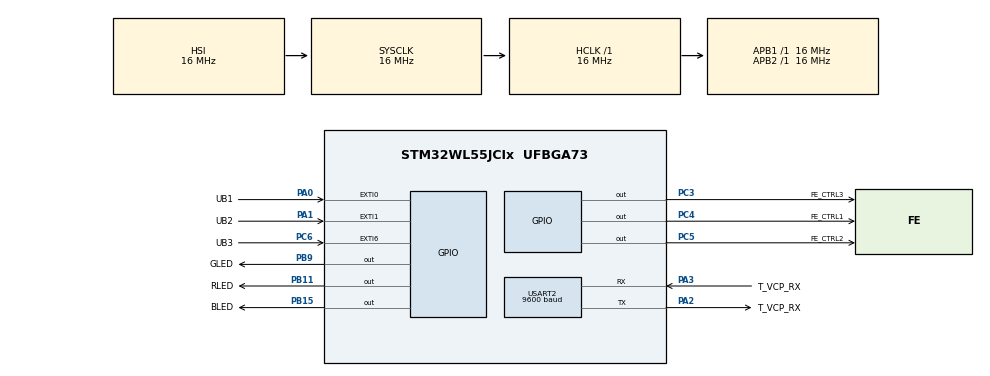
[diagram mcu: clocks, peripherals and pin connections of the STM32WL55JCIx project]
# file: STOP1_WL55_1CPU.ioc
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Mcu.Family=STM32WL
Mcu.Name=STM32WL55JCIx
Mcu.Package=UFBGA73
NVIC.EXTI0_IRQn=true\:0\:0\:false\:false\:true\:true\:true\:true
NVIC.EXTI1_IRQn=true\:0\:0\:false\:false\:true\:true\:true\:true
NVIC.EXTI9_5_IRQn=true\:0\:0\:false\:false\:true\:true\:true\:true
NVIC.PriorityGroup=NVIC_PRIORITYGROUP_4
PA0.GPIO_Label=UB1
PA0.GPIO_ModeDefaultEXTI=GPIO_MODE_IT_FALLING
PA0.GPIO_PuPd=GPIO_PULLUP
PA0.Signal=GPXTI0
PA1.GPIO_Label=UB2
PA1.GPIO_ModeDefaultEXTI=GPIO_MODE_IT_FALLING
PA1.GPIO_PuPd=GPIO_PULLUP
PA1.Signal=GPXTI1
PA2.GPIO_Label=T_VCP_RX
PA2.Mode=Asynchronous
PA2.Signal=USART2_TX
PA3.GPIO_Label=T_VCP_RX
PA3.Mode=Asynchronous
PA3.Signal=USART2_RX
PB11.GPIO_Label=RLED
PB11.Signal=GPIO_Output
PB15.GPIO_Label=BLED
PB15.Signal=GPIO_Output
PB9.GPIO_Label=GLED
PB9.Signal=GPIO_Output
PC14-OSC32_IN.GPIO_Label=RCC_OSC32_IN
PC14-OSC32_IN.Signal=RCC_OSC32_IN
PC15-OSC32_OUT.GPIO_Label=RCC_OSC32_OUT
PC15-OSC32_OUT.Signal=RCC_OSC32_OUT
PC3.GPIO_Label=FE_CTRL3
PC3.GPIO_Speed=GPIO_SPEED_FREQ_VERY_HIGH
PC3.Signal=GPIO_Output
PC4.GPIO_Label=FE_CTRL1
PC4.GPIO_Speed=GPIO_SPEED_FREQ_VERY_HIGH
PC4.Signal=GPIO_Output
PC5.GPIO_Label=FE_CTRL2
PC5.GPIO_Speed=GPIO_SPEED_FREQ_VERY_HIGH
PC5.Signal=GPIO_Output
PC6.GPIO_Label=UB3
PC6.GPIO_ModeDefaultEXTI=GPIO_MODE_IT_FALLING
PC6.GPIO_PuPd=GPIO_PULLUP
PC6.Signal=GPXTI6
ProjectManager.HeapSize=0x200
ProjectManager.StackSize=0x400
ProjectManager.TargetToolchain=STM32CubeIDE
RCC.AHBFreq_Value=16000000
RCC.APB1Freq_Value=16000000
RCC.APB1TimFreq_Value=16000000
RCC.APB2Freq_Value=16000000
RCC.APB2TimFreq_Value=16000000
RCC.APB3Freq_Value=16000000
RCC.CortexFreq_Value=16000000
RCC.HCLKFreq_Value=16000000
RCC.HSE_VALUE=32000000
RCC.HSI_VALUE=16000000
RCC.LSE_VALUE=32768
RCC.SYSCLKFreq_VALUE=16000000
RCC.SYSCLKSource=RCC_SYSCLKSOURCE_HSI
RCC.VCOOutputFreq_Value=32000000
USART2.BaudRate=9600
USART2.VirtualMode-Asynchronous=VM_ASYNC
board=NUCLEO-WL55JC1

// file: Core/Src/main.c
/* USER CODE BEGIN Header */
/**
  ******************************************************************************
  * @file           : main.c
  * @brief          : Main program body
  ******************************************************************************
  * @attention
  *
  * Copyright (c) 2025 STMicroelectronics.
  * All rights reserved.
  *
  * This software is licensed under terms that can be found in the LICENSE file
  * in the root directory of this software component.
  * If no LICENSE file comes with this software, it is provided AS-IS.
  *
  ******************************************************************************
  */
/* USER CODE END Header */
#include "main.h"

/* USER CODE BEGIN Includes */
#include <stdio.h>
#include "STOP1_example.h" // Include our custom header for STOP1 mode example
/* USER CODE END Includes */

UART_HandleTypeDef huart2;

/* USER CODE BEGIN PV */
// Define modes using enum
typedef enum {
    MODE_RUN = 0,
    MODE_LPRUN = 1,
    MODE_STOP1 = 2
} PowerMode;
uint8_t currentMode = MODE_RUN; 				// Initialize current mode to RUN
uint8_t nextMode = MODE_RUN;					// Set another variable to store the next mode to be enter
volatile uint8_t button_pressed = 0; 			// Flag waiting for a button reset
/* USER CODE END PV */

void SystemClock_Config(void);
static void MX_GPIO_Init(void);
static void MX_USART2_UART_Init(void);
/* USER CODE BEGIN PFP */
void Switch_Mode(void);
/* USER CODE END PFP */

int main(void)
{

  /* MCU Configuration--------------------------------------------------------*/

  /* Reset of all peripherals, Initializes the Flash interface and the Systick. */
  HAL_Init();

  /* Configure the system clock */
  SystemClock_Config();

  /* Initialize all configured peripherals */
  MX_GPIO_Init();
  MX_USART2_UART_Init();

  /* Infinite loop */
  /* USER CODE BEGIN WHILE */
    printf("\r\n\r\nTest d'une appli mode veille profonde sur STM32.\r\n");
    printf("Les différents modes testés sont:\r\n");
    printf("\tRUN = 0, LPRUN = 1, STOP1 = 2\r\n");
  while (1)
  {
	  button_pressed = 0; // Reset flag before waiting
	  printf("Exécution de la boucle While.\r\n");
	  printf("Modes disponibles:\r\n");
	  printf("\tRUN = 0, LPRUN = 1, STOP1 = 2\r\n");
	  printf("\tMode actuel: %d\r\n\r\n", currentMode);

	  while (button_pressed == 0){}

	  Switch_Mode();
    /* USER CODE END WHILE */

  }
}

void SystemClock_Config(void)
{
  RCC_OscInitTypeDef RCC_OscInitStruct = {0};
  RCC_ClkInitTypeDef RCC_ClkInitStruct = {0};

  /** Configure the main internal regulator output voltage
  */
  __HAL_PWR_VOLTAGESCALING_CONFIG(PWR_REGULATOR_VOLTAGE_SCALE2);

  /** Initializes the CPU, AHB and APB buses clocks
  */
  RCC_OscInitStruct.OscillatorType = RCC_OSCILLATORTYPE_HSI;
  RCC_OscInitStruct.HSIState = RCC_HSI_ON;
  RCC_OscInitStruct.HSICalibrationValue = RCC_HSICALIBRATION_DEFAULT;
  RCC_OscInitStruct.PLL.PLLState = RCC_PLL_NONE;
  if (HAL_RCC_OscConfig(&RCC_OscInitStruct) != HAL_OK)
  {
    Error_Handler();
  }

  /** Configure the SYSCLKSource, HCLK, PCLK1 and PCLK2 clocks dividers
  */
  RCC_ClkInitStruct.ClockType = RCC_CLOCKTYPE_HCLK3|RCC_CLOCKTYPE_HCLK
                              |RCC_CLOCKTYPE_SYSCLK|RCC_CLOCKTYPE_PCLK1
                              |RCC_CLOCKTYPE_PCLK2;
  RCC_ClkInitStruct.SYSCLKSource = RCC_SYSCLKSOURCE_HSI;
  RCC_ClkInitStruct.AHBCLKDivider = RCC_SYSCLK_DIV1;
  RCC_ClkInitStruct.APB1CLKDivider = RCC_HCLK_DIV1;
  RCC_ClkInitStruct.APB2CLKDivider = RCC_HCLK_DIV1;
  RCC_ClkInitStruct.AHBCLK3Divider = RCC_SYSCLK_DIV1;

  if (HAL_RCC_ClockConfig(&RCC_ClkInitStruct, FLASH_LATENCY_0) != HAL_OK)
  {
    Error_Handler();
  }
}

static void MX_USART2_UART_Init(void)
{

  huart2.Instance = USART2;
  huart2.Init.BaudRate = 9600;
  huart2.Init.WordLength = UART_WORDLENGTH_8B;
  huart2.Init.StopBits = UART_STOPBITS_1;
  huart2.Init.Parity = UART_PARITY_NONE;
  huart2.Init.Mode = UART_MODE_TX_RX;
  huart2.Init.HwFlowCtl = UART_HWCONTROL_NONE;
  huart2.Init.OverSampling = UART_OVERSAMPLING_16;
  huart2.Init.OneBitSampling = UART_ONE_BIT_SAMPLE_DISABLE;
  huart2.Init.ClockPrescaler = UART_PRESCALER_DIV1;
  huart2.AdvancedInit.AdvFeatureInit = UART_ADVFEATURE_NO_INIT;
  if (HAL_UART_Init(&huart2) != HAL_OK)
  {
    Error_Handler();
  }
  if (HAL_UARTEx_SetTxFifoThreshold(&huart2, UART_TXFIFO_THRESHOLD_1_8) != HAL_OK)
  {
    Error_Handler();
  }
  if (HAL_UARTEx_SetRxFifoThreshold(&huart2, UART_RXFIFO_THRESHOLD_1_8) != HAL_OK)
  {
    Error_Handler();
  }
  if (HAL_UARTEx_DisableFifoMode(&huart2) != HAL_OK)
  {
    Error_Handler();
  }

}

static void MX_GPIO_Init(void)
{
  GPIO_InitTypeDef GPIO_InitStruct = {0};

  /* GPIO Ports Clock Enable */
  __HAL_RCC_GPIOB_CLK_ENABLE();
  __HAL_RCC_GPIOC_CLK_ENABLE();
  __HAL_RCC_GPIOA_CLK_ENABLE();

  /*Configure GPIO pin Output Level */
  HAL_GPIO_WritePin(GPIOB, BLED_Pin|GLED_Pin|RLED_Pin, GPIO_PIN_RESET);

  /*Configure GPIO pin Output Level */
  HAL_GPIO_WritePin(GPIOC, FE_CTRL3_Pin|FE_CTRL2_Pin|FE_CTRL1_Pin, GPIO_PIN_RESET);

  /*Configure GPIO pins : BLED_Pin GLED_Pin RLED_Pin */
  GPIO_InitStruct.Pin = BLED_Pin|GLED_Pin|RLED_Pin;
  GPIO_InitStruct.Mode = GPIO_MODE_OUTPUT_PP;
  GPIO_InitStruct.Pull = GPIO_NOPULL;
  GPIO_InitStruct.Speed = GPIO_SPEED_FREQ_LOW;
  HAL_GPIO_Init(GPIOB, &GPIO_InitStruct);

  /*Configure GPIO pins : FE_CTRL3_Pin FE_CTRL2_Pin FE_CTRL1_Pin */
  GPIO_InitStruct.Pin = FE_CTRL3_Pin|FE_CTRL2_Pin|FE_CTRL1_Pin;
  GPIO_InitStruct.Mode = GPIO_MODE_OUTPUT_PP;
  GPIO_InitStruct.Pull = GPIO_NOPULL;
  GPIO_InitStruct.Speed = GPIO_SPEED_FREQ_VERY_HIGH;
  HAL_GPIO_Init(GPIOC, &GPIO_InitStruct);

  /*Configure GPIO pins : UB1_Pin UB2_Pin */
  GPIO_InitStruct.Pin = UB1_Pin|UB2_Pin;
  GPIO_InitStruct.Mode = GPIO_MODE_IT_FALLING;
  GPIO_InitStruct.Pull = GPIO_PULLUP;
  HAL_GPIO_Init(GPIOA, &GPIO_InitStruct);

  /*Configure GPIO pin : UB3_Pin */
  GPIO_InitStruct.Pin = UB3_Pin;
  GPIO_InitStruct.Mode = GPIO_MODE_IT_FALLING;
  GPIO_InitStruct.Pull = GPIO_PULLUP;
  HAL_GPIO_Init(UB3_GPIO_Port, &GPIO_InitStruct);

  /* EXTI interrupt init*/
  HAL_NVIC_SetPriority(EXTI0_IRQn, 0, 0);
  HAL_NVIC_EnableIRQ(EXTI0_IRQn);

  HAL_NVIC_SetPriority(EXTI1_IRQn, 0, 0);
  HAL_NVIC_EnableIRQ(EXTI1_IRQn);

  HAL_NVIC_SetPriority(EXTI9_5_IRQn, 0, 0);
  HAL_NVIC_EnableIRQ(EXTI9_5_IRQn);

}

/* USER CODE BEGIN 4 */
/** @brief User-defined ISR when pressing any of the buttons,
  * text is displayed and LEDs are blinking.
  * Power mode is switched according to the button pressed and
  * `currentMode` is updated.
  * @param GPIO_Pin: Pin number that triggered the interrupt
  * @note  This function is called by the HAL when an external interrupt occurs.
  * @retval None
  */
void HAL_GPIO_EXTI_Callback(uint16_t GPIO_Pin){
	// Update our user defined flags
	button_pressed = 1;
	// Cases differ depending on the button pressed
	// Actions to do if we are currently in STOP1 mode
	if (currentMode == MODE_STOP1 || currentMode == MODE_LPRUN){
		if (currentMode == MODE_STOP1){
			// Resume the SysTick increment
			HAL_ResumeTick();
		}
		else if (currentMode == MODE_LPRUN){
			Exit_LowPowerRunMode(1);
		}
		// (Re)Initialize the peripherals
		HAL_Init(); 			// all peripherals, Flash interface and SysTick
		MX_GPIO_Init();			// GPIO
		MX_USART2_UART_Init(); 	// USART2
	}
	/* If user button 1 (UB1, on PA0) is pressed,
     * we are currently in STOP1 mode, so no change.
     */
	if (GPIO_Pin == UB1_Pin){
		nextMode = MODE_STOP1;
        // Nothing else to do here.
	}
	/* If user button 2 (UB2, on PA1) is pressed,
	 * switch mode to LPRun mode.
	 */
	if (GPIO_Pin == UB2_Pin){
		printf("Pression du Bouton 2 détectée.\r\n");
		printf("Le µCU entrera en mode LPRun.\r\n");
		nextMode = MODE_LPRUN;
	}
	/* If user button 3 (UB3, on PC6) is pressed,
	 * switch mode to Run mode.
	 */
	if (GPIO_Pin == UB3_Pin){
		printf("Pression du Bouton 3 détectée.\r\n");
		printf("Le µCU entrera en mode Run.\r\n");
		nextMode = MODE_RUN;
	}
}

/** @brief Makes the CPU change its power mode,
  * between the Run, LPRun and STOP1,
  * according to the button pressed.
  * @param GPIO_Pin may take different values, each leading to a specific mode:
  * 	GPIO_Pin_0 || UB1_Pin sets the CPU to STOP1 mode
  * 	GPIO_Pin_1 || UB2_Pin sets the CPU to LPRun mode
  * 	GPIO_Pin_6 || UB3_Pin sets the CPU to Run mode
  * @retval None
  */
void Switch_Mode(void){
	// Cases differ depending on the button pressed
	/* If user button 1 (UB1, on PA0) was pressed,
	 * switch mode to STOP1 mode.
	 */
	if (nextMode == MODE_STOP1){
		// Launch blue LED sequence (3 quick blinks)
		for (int _ = 0; _ < 6; _++){
			HAL_GPIO_TogglePin(GPIOB, GPIO_PIN_15);
			delay(50);
		}
		// If we are in LPRun or Run mode, switch to STOP1 mode
		if (currentMode != MODE_STOP1){
			// Procedure to enter STOP1 mode is the same, but exiting LPRun is an extra step
			if (currentMode == MODE_LPRUN){
				// Exit first from LPRun, working back at 16 MHz
				Exit_LowPowerRunMode(1);
				// Reset the USART2 peripheral, as HCLK1 frequency is now different
				MX_USART2_UART_Init();
			}
			printf("Le µCU entre en mode STOP1 via WFI.\r\n");
			// Suspend the SysTick increment
			HAL_SuspendTick();
			// Clock-gating the USART2 peripheral
			__HAL_RCC_USART2_CLK_SLEEP_DISABLE();
			// Set the current mode to STOP1
			currentMode = MODE_STOP1;
      // Enter STOP1 mode
      Enter_STOP1Mode_OnWFI();
		}
	}
	/* If user button 2 (UB2, on PA1) was pressed,
	 * switch mode to LPRun mode.
	 */
	else if (nextMode == MODE_LPRUN){
		// Launch green LED sequence (3 quick blinks)
		for (int _ = 0; _ < 6; _++){
			HAL_GPIO_TogglePin(GPIOB, GPIO_PIN_9);
			delay(50);
		}
		// If we are in Run or STOP1 mode, switch to LPRun mode
		if (currentMode != MODE_LPRUN){
			// Procedure to enter LPRun mode is the same, but exiting STOP1 requires extra steps
			if (currentMode == MODE_STOP1){
				// Resume the SysTick increment
				HAL_ResumeTick();
				// (Re)Initialize the peripherals
				HAL_Init(); 			// all peripherals, Flash interface and SysTick
				MX_GPIO_Init();			// GPIO
			}
			// Reset the USART2 peripheral
			MX_USART2_UART_Init();
			printf("Le µCU entre en mode LPRun.\r\n\r\n");
			// Set the current mode to LPRun
			currentMode = MODE_LPRUN;
			// Enter LPRun mode
			Enter_LowPowerRunMode();
			// Reset the USART2 peripheral (again)
			MX_USART2_UART_Init();
		}
	}
	/* If user button 3 (UB3, on PC6) was pressed,
	 * switch mode to Run mode.
	 */
	else if (nextMode == MODE_RUN){
		// Launch red LED sequence (2 slow blinks)
		for (int _ = 0; _ < 4; _++){
			HAL_GPIO_TogglePin(GPIOB, GPIO_PIN_11);
			delay(200);
		}
		// If we are in LPRun or STOP1 mode, switch to Run mode
		if (currentMode != MODE_RUN){
			if (currentMode == MODE_LPRUN){
				// Exit first from LPRun, working back at 16 MHz
				Exit_LowPowerRunMode(1);
			} if (currentMode == MODE_STOP1){
				// Resume the SysTick increment
				HAL_ResumeTick();
			}
			// (Re)Initialize the peripherals
			HAL_Init(); 			// all peripherals, Flash interface and SysTick
			MX_GPIO_Init();			// GPIO
			MX_USART2_UART_Init(); 	// USART2
			printf("Le µCU entre en mode Run.\r\n\r\n");
			// Set the current mode to Run
			currentMode = MODE_RUN;
		}
	}
}

/* USER CODE END 4 */

void Error_Handler(void)
{
  __disable_irq();
  while (1)
  {
  }
}
